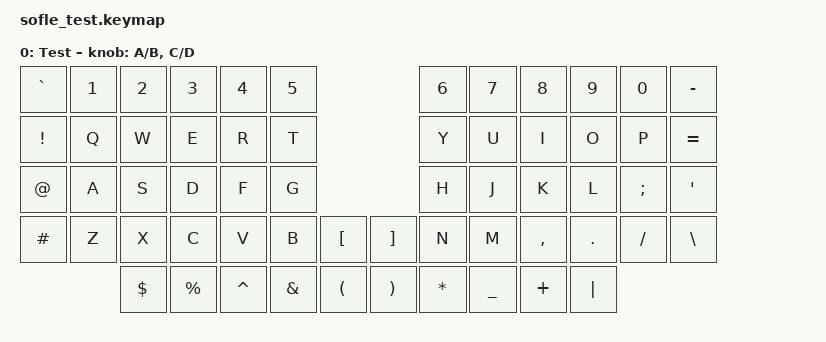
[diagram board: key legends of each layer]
/*
 * Sofle v2.0w - Hardware verification keymap
 *
 * Each key outputs a unique, position-identifiable character.
 * Rows are labeled by a leading character so a bad joint is immediately obvious:
 *
 * LEFT HALF                                RIGHT HALF
 * ╭──────────────────────────╮      ╭─────────────────────────╮
 * │ `  1  2  3  4  5         │      │        6  7  8  9  0  - │
 * │ !  q  w  e  r  t         │      │        y  u  i  o  p  = │
 * │ @  a  s  d  f  g         │      │        h  j  k  l  ;  ' │
 * │ #  z  x  c  v  b  [ENC]  │      │  [ENC] n  m  ,  .  /  \ │
 * │       $  %  ^  &  (      │      │      ) *  _  +  |       │
 * ╰──────────────────────────╯      ╰─────────────────────────╯
 *
 * Encoders: Left = A/B, Right = C/D
 *
 * When a key doesn't fire, you know exactly which socket to reflow.
 */

#include <behaviors.dtsi>
#include <dt-bindings/zmk/keys.h>

&nice_view_spi {
    cs-gpios = <&pro_micro 0 GPIO_ACTIVE_HIGH>;
};

/ {
    keymap {
        compatible = "zmk,keymap";

        test_layer {
            label = "Test";
            bindings = <
// ╭─────────┬──────┬────────┬─────────┬─────────┬────────╮                 ╭────────┬─────────┬─────────┬────────┬────────┬──────╮
   &kp GRAVE &kp N1 &kp N2   &kp N3    &kp N4    &kp N5                     &kp N6   &kp N7    &kp N8    &kp N9   &kp N0   &kp MINUS
// ├─────────┼──────┼────────┼─────────┼─────────┼────────┤                 ├────────┼─────────┼─────────┼────────┼────────┼──────┤
   &kp EXCL  &kp Q  &kp W    &kp E     &kp R     &kp T                      &kp Y    &kp U     &kp I     &kp O    &kp P    &kp EQUAL
// ├─────────┼──────┼────────┼─────────┼─────────┼────────┤                 ├────────┼─────────┼─────────┼────────┼────────┼──────┤
   &kp AT    &kp A  &kp S    &kp D     &kp F     &kp G                      &kp H    &kp J     &kp K     &kp L    &kp SEMI &kp SQT
// ├─────────┼──────┼────────┼─────────┼─────────┼────────┼───────╮╭────────┬────────┼─────────┼─────────┼────────┼────────┼──────┤
   &kp HASH  &kp Z  &kp X    &kp C     &kp V     &kp B    &kp LBKT &kp RBKT &kp N    &kp M     &kp COMMA &kp DOT  &kp FSLH &kp BSLH
// ╰─────────┴──────┴────────┼─────────┼─────────┼────────┼───────╯╰────────┴────────┼─────────┼─────────┼────────┴────────┴──────╯
                    &kp DLLR &kp PRCNT &kp CARET &kp AMPS &kp LPAR &kp RPAR &kp STAR &kp UNDER &kp PLUS  &kp PIPE
//                  ╰────────┴─────────┴─────────┴────────┴───────╯╰────────┴────────┴─────────┴─────────┴────────╯
            >;
            // Left encoder: A (ccw) / B (cw)   Right encoder: C (ccw) / D (cw)
            sensor-bindings = <&inc_dec_kp A B &inc_dec_kp C D>;
        };
    };
};
